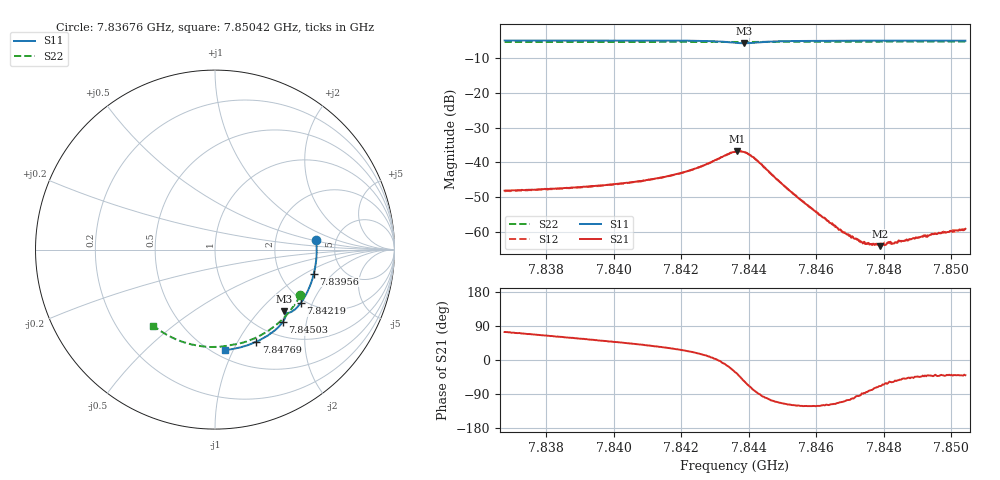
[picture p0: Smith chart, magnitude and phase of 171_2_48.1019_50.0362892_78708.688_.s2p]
#  HZ  S  RI  R  50.00
! Rohde & Schwarz Vector Network Analyzer
! Rohde-Schwarz,ZNB20-2Port,1311601062101988,3.16
! Created: UTC 12/23/2023, 3:51:45 AM
! freq[Hz]  re:S11  im:S11  re:S21  im:S21  re:S12  im:S12  re:S22  im:S22
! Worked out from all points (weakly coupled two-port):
!   401 points, 7.83676 GHz to 7.85042 GHz, reference 50 ohm
!   highest |S21| = -36.72 dB at 7.84366 GHz (marker M1); lowest = -64.1 dB at 7.8479 GHz (marker M2)
!   lowest |S11| = -5.7 dB at 7.84387 GHz (marker M3), VSWR 3.14, Z = 74 - j69.5 ohm
!   |S11| at or under -10 dB: nowhere
!   |S22| runs from -5.4 to -5.3 dB; largest |S21 - S12| = 0.00033
!   S11 on the Smith chart (normalised r, x): 7.83676 GHz: 3.52, +0.53; 7.83956 GHz: 3.09, -1.22; 7.84219 GHz: 1.88, -1.65; 7.84503 GHz: 1.26, -1.47; 7.84769 GHz: 0.80, -1.20; 7.85042 GHz: 0.57, -0.93
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7.836764e9  0.5637 0.0514  0.00109 0.00378  0.00113 0.00367  0.475 -0.2555
7.839052e9  0.558 -0.1005  0.00248 0.00367  0.00247 0.00362  0.38 -0.384
7.839564e9  0.5507 -0.1341  0.00291 0.00365  0.00283 0.00358  0.3537 -0.4086
7.840486e9  0.5325 -0.1938  0.00372 0.00356  0.00369 0.00354  0.3027 -0.4481
7.84134e9  0.5086 -0.2474  0.0049 0.00341  0.00483 0.00343  0.2512 -0.4792
7.842193e9  0.4765 -0.2993  0.0069 0.00297  0.0069 0.00303  0.1969 -0.5042
7.843081e9  0.4268 -0.346  0.0112 -7.05e-05  0.0111 2.11e-05  0.1371 -0.5229
7.843593e9  0.391 -0.3508  0.012 -0.00751  0.0122 -0.00747  0.1027 -0.529
7.843662e9  0.388 -0.349  0.0117 -0.0087  0.0115 -0.00879  0.0984 -0.5299
7.843866e9  0.3861 -0.344  0.00791 -0.0117  0.00796 -0.0116  0.0856 -0.5321
7.844208e9  0.3936 -0.3516  0.00117 -0.0109  0.00128 -0.0109  0.0635 -0.5365
7.845027e9  0.3766 -0.4051  -0.00199 -0.00425  -0.00199 -0.00431  0.00615 -0.5426
7.845881e9  0.3343 -0.4494  -0.00113 -0.00183  -0.00113 -0.00182  -0.054 -0.5409
7.846598e9  0.2942 -0.4788  -0.000482 -0.00106  -0.000463 -0.00108  -0.1039 -0.5339
7.846974e9  0.2724 -0.4921  -0.000235 -0.000848  -0.000245 -0.00088  -0.1296 -0.5286
7.847383e9  0.2478 -0.5053  1.42e-05 -0.000683  -3.43e-05 -0.000728  -0.1576 -0.5213
7.847691e9  0.2294 -0.5143  0.000158 -0.000662  0.000145 -0.000652  -0.1781 -0.5148
7.847896e9  0.2166 -0.5196  0.000226 -0.000583  0.000217 -0.000643  -0.1917 -0.5098
7.848169e9  0.1995 -0.5264  0.000389 -0.000601  0.000346 -0.000603  -0.2097 -0.5031
7.848305e9  0.191 -0.5296  0.000372 -0.000571  0.000396 -0.000596  -0.2185 -0.4993
7.849569e9  0.1098 -0.5518  0.000696 -0.000621  0.000711 -0.000616  -0.2967 -0.4581
7.850422e9  0.0536 -0.5598  0.000848 -0.000716  0.000816 -0.000716  -0.3452 -0.4233
